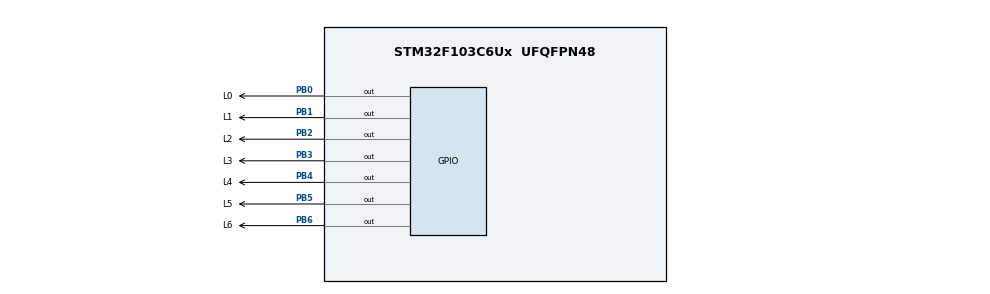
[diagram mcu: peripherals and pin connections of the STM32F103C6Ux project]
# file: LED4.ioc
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Mcu.Family=STM32F1
Mcu.Name=STM32F103C6Ux
Mcu.Package=UFQFPN48
NVIC.PriorityGroup=NVIC_PRIORITYGROUP_4
PB0.GPIO_Label=L0
PB0.Signal=GPIO_Output
PB1.GPIO_Label=L1
PB1.Signal=GPIO_Output
PB2.GPIO_Label=L2
PB2.Signal=GPIO_Output
PB3.GPIO_Label=L3
PB3.Signal=GPIO_Output
PB4.GPIO_Label=L4
PB4.Signal=GPIO_Output
PB5.GPIO_Label=L5
PB5.Signal=GPIO_Output
PB6.GPIO_Label=L6
PB6.Signal=GPIO_Output
ProjectManager.HeapSize=0x200
ProjectManager.StackSize=0x400
ProjectManager.TargetToolchain=STM32CubeIDE
RCC.APB1Freq_Value=8000000
RCC.APB2Freq_Value=8000000
VP_SYS_VS_ND.Mode=No_Debug
board=custom

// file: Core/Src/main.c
/* USER CODE BEGIN Header */
/**
  ******************************************************************************
  * @file           : main.c
  * @brief          : Main program body
  ******************************************************************************
  * @attention
  *
  * <h2><center>&copy; Copyright (c) 2022 STMicroelectronics.
  * All rights reserved.</center></h2>
  *
  * This software component is licensed by ST under BSD 3-Clause license,
  * the "License"; You may not use this file except in compliance with the
  * License. You may obtain a copy of the License at:
  *                        opensource.org/licenses/BSD-3-Clause
  *
  ******************************************************************************
  */
/* USER CODE END Header */
#include "main.h"

void SystemClock_Config(void);
static void MX_GPIO_Init(void);

int main(void)
{

  /* MCU Configuration--------------------------------------------------------*/

  /* Reset of all peripherals, Initializes the Flash interface and the Systick. */
  HAL_Init();

  /* Configure the system clock */
  SystemClock_Config();

  /* Initialize all configured peripherals */
  MX_GPIO_Init();
  /* USER CODE BEGIN 2 */
  int counter =0;
  void reset()
  {
	HAL_GPIO_WritePin(L0_GPIO_Port, L0_Pin, 1);
	HAL_GPIO_WritePin(L1_GPIO_Port, L1_Pin, 1);
	HAL_GPIO_WritePin(L2_GPIO_Port, L2_Pin, 1);
	HAL_GPIO_WritePin(L3_GPIO_Port, L3_Pin, 1);
	HAL_GPIO_WritePin(L4_GPIO_Port, L4_Pin, 1);
	HAL_GPIO_WritePin(L5_GPIO_Port, L5_Pin, 1);
	HAL_GPIO_WritePin(L6_GPIO_Port, L6_Pin, 1);
  }
  void display7SEG(int nums)
  {
	  reset();
	  switch(nums)
	  {
	  	  case 0:
	  	  {
	  		HAL_GPIO_WritePin(L0_GPIO_Port, L0_Pin, 0);
			HAL_GPIO_WritePin(L1_GPIO_Port, L1_Pin, 0);
			HAL_GPIO_WritePin(L2_GPIO_Port, L2_Pin, 0);
			HAL_GPIO_WritePin(L3_GPIO_Port, L3_Pin, 0);
			HAL_GPIO_WritePin(L4_GPIO_Port, L4_Pin, 0);
			HAL_GPIO_WritePin(L5_GPIO_Port, L5_Pin, 0);
			HAL_GPIO_WritePin(L6_GPIO_Port, L6_Pin, 1);
			break;
	  	  }
	  	  case 1:
	  	  {
			HAL_GPIO_WritePin(L0_GPIO_Port, L0_Pin, 1);
			HAL_GPIO_WritePin(L1_GPIO_Port, L1_Pin, 0);
			HAL_GPIO_WritePin(L2_GPIO_Port, L2_Pin, 0);
			HAL_GPIO_WritePin(L3_GPIO_Port, L3_Pin, 1);
			HAL_GPIO_WritePin(L4_GPIO_Port, L4_Pin, 1);
			HAL_GPIO_WritePin(L5_GPIO_Port, L5_Pin, 1);
			HAL_GPIO_WritePin(L6_GPIO_Port, L6_Pin, 1);
			break;
	  	  }
	  	  case 2:{
		  		HAL_GPIO_WritePin(L0_GPIO_Port, L0_Pin, 0);
				HAL_GPIO_WritePin(L1_GPIO_Port, L1_Pin, 0);
				HAL_GPIO_WritePin(L2_GPIO_Port, L2_Pin, 1);
				HAL_GPIO_WritePin(L3_GPIO_Port, L3_Pin, 0);
				HAL_GPIO_WritePin(L4_GPIO_Port, L4_Pin, 0);
				HAL_GPIO_WritePin(L5_GPIO_Port, L5_Pin, 1);
				HAL_GPIO_WritePin(L6_GPIO_Port, L6_Pin, 0);
				break;
		  	  }
	  	  case 3:{
		  		HAL_GPIO_WritePin(L0_GPIO_Port, L0_Pin, 0);
				HAL_GPIO_WritePin(L1_GPIO_Port, L1_Pin, 0);
				HAL_GPIO_WritePin(L2_GPIO_Port, L2_Pin, 0);
				HAL_GPIO_WritePin(L3_GPIO_Port, L3_Pin, 0);
				HAL_GPIO_WritePin(L4_GPIO_Port, L4_Pin, 1);
				HAL_GPIO_WritePin(L5_GPIO_Port, L5_Pin, 1);
				HAL_GPIO_WritePin(L6_GPIO_Port, L6_Pin, 0);
				break;
		  	  }
	  	  case 4:{
		  		HAL_GPIO_WritePin(L0_GPIO_Port, L0_Pin, 1);
				HAL_GPIO_WritePin(L1_GPIO_Port, L1_Pin, 0);
				HAL_GPIO_WritePin(L2_GPIO_Port, L2_Pin, 0);
				HAL_GPIO_WritePin(L3_GPIO_Port, L3_Pin, 1);
				HAL_GPIO_WritePin(L4_GPIO_Port, L4_Pin, 1);
				HAL_GPIO_WritePin(L5_GPIO_Port, L5_Pin, 0);
				HAL_GPIO_WritePin(L6_GPIO_Port, L6_Pin, 0);
				break;
		  	  }
	  	  case 5:{
		  		HAL_GPIO_WritePin(L0_GPIO_Port, L0_Pin, 0);
				HAL_GPIO_WritePin(L1_GPIO_Port, L1_Pin, 1);
				HAL_GPIO_WritePin(L2_GPIO_Port, L2_Pin, 0);
				HAL_GPIO_WritePin(L3_GPIO_Port, L3_Pin, 0);
				HAL_GPIO_WritePin(L4_GPIO_Port, L4_Pin, 1);
				HAL_GPIO_WritePin(L5_GPIO_Port, L5_Pin, 0);
				HAL_GPIO_WritePin(L6_GPIO_Port, L6_Pin, 0);
				break;
		  	  }
	  	  case 6:{
		  		HAL_GPIO_WritePin(L0_GPIO_Port, L0_Pin, 0);
				HAL_GPIO_WritePin(L1_GPIO_Port, L1_Pin, 1);
				HAL_GPIO_WritePin(L2_GPIO_Port, L2_Pin, 0);
				HAL_GPIO_WritePin(L3_GPIO_Port, L3_Pin, 0);
				HAL_GPIO_WritePin(L4_GPIO_Port, L4_Pin, 0);
				HAL_GPIO_WritePin(L5_GPIO_Port, L5_Pin, 0);
				HAL_GPIO_WritePin(L6_GPIO_Port, L6_Pin, 0);
				break;
		  	  }
	  	  case 7:{
		  		HAL_GPIO_WritePin(L0_GPIO_Port, L0_Pin, 0);
				HAL_GPIO_WritePin(L1_GPIO_Port, L1_Pin, 0);
				HAL_GPIO_WritePin(L2_GPIO_Port, L2_Pin, 0);
				HAL_GPIO_WritePin(L3_GPIO_Port, L3_Pin, 1);
				HAL_GPIO_WritePin(L4_GPIO_Port, L4_Pin, 1);
				HAL_GPIO_WritePin(L5_GPIO_Port, L5_Pin, 1);
				HAL_GPIO_WritePin(L6_GPIO_Port, L6_Pin, 1);
				break;
		  	  }
	  	  case 8:{
		  		HAL_GPIO_WritePin(L0_GPIO_Port, L0_Pin, 0);
				HAL_GPIO_WritePin(L1_GPIO_Port, L1_Pin, 0);
				HAL_GPIO_WritePin(L2_GPIO_Port, L2_Pin, 0);
				HAL_GPIO_WritePin(L3_GPIO_Port, L3_Pin, 0);
				HAL_GPIO_WritePin(L4_GPIO_Port, L4_Pin, 0);
				HAL_GPIO_WritePin(L5_GPIO_Port, L5_Pin, 0);
				HAL_GPIO_WritePin(L6_GPIO_Port, L6_Pin, 0);
				break;
		  	  }
	  	  case 9:{
		  		HAL_GPIO_WritePin(L0_GPIO_Port, L0_Pin, 0);
				HAL_GPIO_WritePin(L1_GPIO_Port, L1_Pin, 0);
				HAL_GPIO_WritePin(L2_GPIO_Port, L2_Pin, 0);
				HAL_GPIO_WritePin(L3_GPIO_Port, L3_Pin, 0);
				HAL_GPIO_WritePin(L4_GPIO_Port, L4_Pin, 1);
				HAL_GPIO_WritePin(L5_GPIO_Port, L5_Pin, 0);
				HAL_GPIO_WritePin(L6_GPIO_Port, L6_Pin, 0);
				break;
		  	  }
	  }

  }
  /* USER CODE END 2 */

  /* Infinite loop */
  while (1)
  {
	  if( counter >= 10) counter = 0;
	  display7SEG ( counter ++) ;
	  HAL_Delay (1000) ;
  }
}

void SystemClock_Config(void)
{
  RCC_OscInitTypeDef RCC_OscInitStruct = {0};
  RCC_ClkInitTypeDef RCC_ClkInitStruct = {0};

  /** Initializes the RCC Oscillators according to the specified parameters
  * in the RCC_OscInitTypeDef structure.
  */
  RCC_OscInitStruct.OscillatorType = RCC_OSCILLATORTYPE_HSI;
  RCC_OscInitStruct.HSIState = RCC_HSI_ON;
  RCC_OscInitStruct.HSICalibrationValue = RCC_HSICALIBRATION_DEFAULT;
  RCC_OscInitStruct.PLL.PLLState = RCC_PLL_NONE;
  if (HAL_RCC_OscConfig(&RCC_OscInitStruct) != HAL_OK)
  {
    Error_Handler();
  }
  /** Initializes the CPU, AHB and APB buses clocks
  */
  RCC_ClkInitStruct.ClockType = RCC_CLOCKTYPE_HCLK|RCC_CLOCKTYPE_SYSCLK
                              |RCC_CLOCKTYPE_PCLK1|RCC_CLOCKTYPE_PCLK2;
  RCC_ClkInitStruct.SYSCLKSource = RCC_SYSCLKSOURCE_HSI;
  RCC_ClkInitStruct.AHBCLKDivider = RCC_SYSCLK_DIV1;
  RCC_ClkInitStruct.APB1CLKDivider = RCC_HCLK_DIV1;
  RCC_ClkInitStruct.APB2CLKDivider = RCC_HCLK_DIV1;

  if (HAL_RCC_ClockConfig(&RCC_ClkInitStruct, FLASH_LATENCY_0) != HAL_OK)
  {
    Error_Handler();
  }
}

static void MX_GPIO_Init(void)
{
  GPIO_InitTypeDef GPIO_InitStruct = {0};

  /* GPIO Ports Clock Enable */
  __HAL_RCC_GPIOB_CLK_ENABLE();

  /*Configure GPIO pin Output Level */
  HAL_GPIO_WritePin(GPIOB, L0_Pin|L1_Pin|L2_Pin|L3_Pin
                          |L4_Pin|L5_Pin|L6_Pin, GPIO_PIN_RESET);

  /*Configure GPIO pins : L0_Pin L1_Pin L2_Pin L3_Pin
                           L4_Pin L5_Pin L6_Pin */
  GPIO_InitStruct.Pin = L0_Pin|L1_Pin|L2_Pin|L3_Pin
                          |L4_Pin|L5_Pin|L6_Pin;
  GPIO_InitStruct.Mode = GPIO_MODE_OUTPUT_PP;
  GPIO_InitStruct.Pull = GPIO_NOPULL;
  GPIO_InitStruct.Speed = GPIO_SPEED_FREQ_LOW;
  HAL_GPIO_Init(GPIOB, &GPIO_InitStruct);

}

void Error_Handler(void)
{
  __disable_irq();
  while (1)
  {
  }
}

/************************ (C) COPYRIGHT STMicroelectronics *****END OF FILE****/
